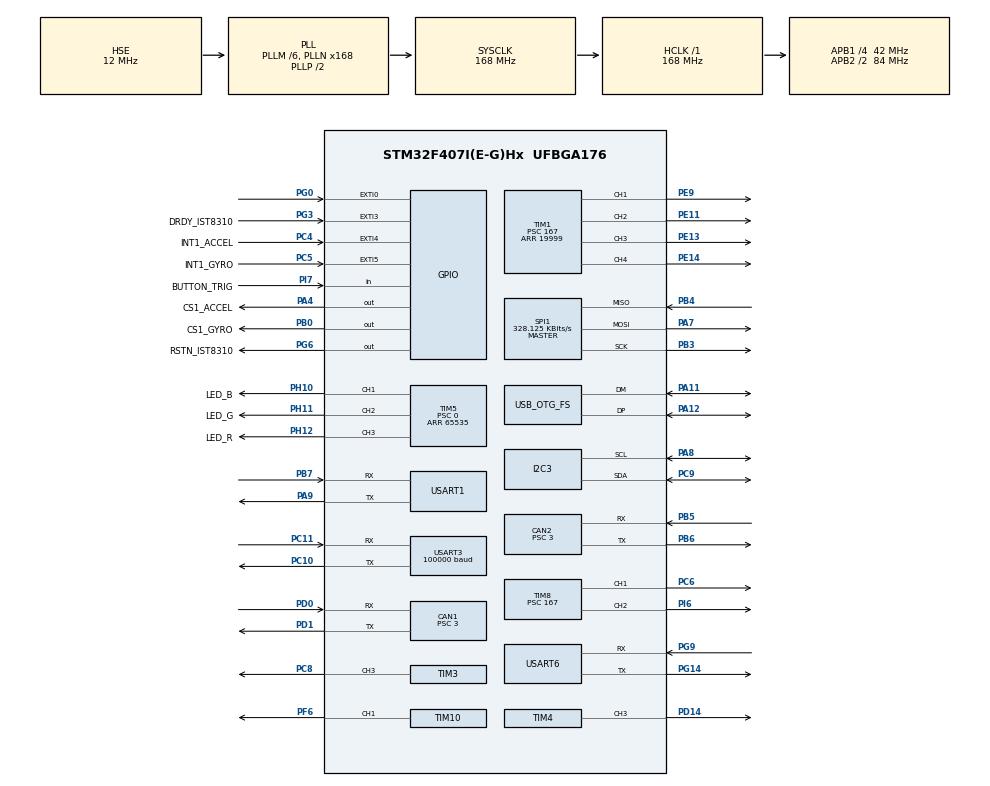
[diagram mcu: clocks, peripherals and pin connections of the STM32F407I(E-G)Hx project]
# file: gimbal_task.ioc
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CAN1.BS1=CAN_BS1_10TQ
CAN1.BS2=CAN_BS2_3TQ
CAN1.CalculateTimeQuantum=71.42857142857143
CAN1.Prescaler=3
CAN2.BS1=CAN_BS1_10TQ
CAN2.BS2=CAN_BS2_3TQ
CAN2.CalculateTimeQuantum=71.42857142857143
CAN2.Prescaler=3
Dma.Request0=SPI1_RX
Dma.Request1=SPI1_TX
Dma.Request2=USART3_RX
Dma.Request3=USART6_RX
Dma.Request4=USART6_TX
Dma.Request5=USART1_RX
Dma.Request6=USART1_TX
Dma.SPI1_RX.0.Direction=DMA_PERIPH_TO_MEMORY
Dma.SPI1_RX.0.FIFOMode=DMA_FIFOMODE_DISABLE
Dma.SPI1_RX.0.Instance=DMA2_Stream2
Dma.SPI1_RX.0.MemDataAlignment=DMA_MDATAALIGN_BYTE
Dma.SPI1_RX.0.MemInc=DMA_MINC_ENABLE
Dma.SPI1_RX.0.Mode=DMA_NORMAL
Dma.SPI1_RX.0.PeriphDataAlignment=DMA_PDATAALIGN_BYTE
Dma.SPI1_RX.0.PeriphInc=DMA_PINC_DISABLE
Dma.SPI1_RX.0.Priority=DMA_PRIORITY_VERY_HIGH
Dma.SPI1_TX.1.Direction=DMA_MEMORY_TO_PERIPH
Dma.SPI1_TX.1.FIFOMode=DMA_FIFOMODE_DISABLE
Dma.SPI1_TX.1.Instance=DMA2_Stream3
Dma.SPI1_TX.1.MemDataAlignment=DMA_MDATAALIGN_BYTE
Dma.SPI1_TX.1.MemInc=DMA_MINC_ENABLE
Dma.SPI1_TX.1.Mode=DMA_NORMAL
Dma.SPI1_TX.1.PeriphDataAlignment=DMA_PDATAALIGN_BYTE
Dma.SPI1_TX.1.PeriphInc=DMA_PINC_DISABLE
Dma.SPI1_TX.1.Priority=DMA_PRIORITY_HIGH
Dma.USART1_RX.5.Direction=DMA_PERIPH_TO_MEMORY
Dma.USART1_RX.5.FIFOMode=DMA_FIFOMODE_DISABLE
Dma.USART1_RX.5.Instance=DMA2_Stream5
Dma.USART1_RX.5.MemDataAlignment=DMA_MDATAALIGN_BYTE
Dma.USART1_RX.5.MemInc=DMA_MINC_ENABLE
Dma.USART1_RX.5.Mode=DMA_NORMAL
Dma.USART1_RX.5.PeriphDataAlignment=DMA_PDATAALIGN_BYTE
Dma.USART1_RX.5.PeriphInc=DMA_PINC_DISABLE
Dma.USART1_RX.5.Priority=DMA_PRIORITY_LOW
Dma.USART1_TX.6.Direction=DMA_MEMORY_TO_PERIPH
Dma.USART1_TX.6.FIFOMode=DMA_FIFOMODE_DISABLE
Dma.USART1_TX.6.Instance=DMA2_Stream7
Dma.USART1_TX.6.MemDataAlignment=DMA_MDATAALIGN_BYTE
Dma.USART1_TX.6.MemInc=DMA_MINC_ENABLE
Dma.USART1_TX.6.Mode=DMA_NORMAL
Dma.USART1_TX.6.PeriphDataAlignment=DMA_PDATAALIGN_BYTE
Dma.USART1_TX.6.PeriphInc=DMA_PINC_DISABLE
Dma.USART1_TX.6.Priority=DMA_PRIORITY_LOW
Dma.USART3_RX.2.Direction=DMA_PERIPH_TO_MEMORY
Dma.USART3_RX.2.FIFOMode=DMA_FIFOMODE_DISABLE
Dma.USART3_RX.2.Instance=DMA1_Stream1
Dma.USART3_RX.2.MemDataAlignment=DMA_MDATAALIGN_BYTE
Dma.USART3_RX.2.MemInc=DMA_MINC_ENABLE
Dma.USART3_RX.2.Mode=DMA_NORMAL
Dma.USART3_RX.2.PeriphDataAlignment=DMA_PDATAALIGN_BYTE
Dma.USART3_RX.2.PeriphInc=DMA_PINC_DISABLE
Dma.USART3_RX.2.Priority=DMA_PRIORITY_HIGH
Dma.USART6_RX.3.Direction=DMA_PERIPH_TO_MEMORY
Dma.USART6_RX.3.FIFOMode=DMA_FIFOMODE_DISABLE
Dma.USART6_RX.3.Instance=DMA2_Stream1
Dma.USART6_RX.3.MemDataAlignment=DMA_MDATAALIGN_BYTE
Dma.USART6_RX.3.MemInc=DMA_MINC_ENABLE
Dma.USART6_RX.3.Mode=DMA_NORMAL
Dma.USART6_RX.3.PeriphDataAlignment=DMA_PDATAALIGN_BYTE
Dma.USART6_RX.3.PeriphInc=DMA_PINC_DISABLE
Dma.USART6_RX.3.Priority=DMA_PRIORITY_LOW
Dma.USART6_TX.4.Direction=DMA_MEMORY_TO_PERIPH
Dma.USART6_TX.4.FIFOMode=DMA_FIFOMODE_DISABLE
Dma.USART6_TX.4.Instance=DMA2_Stream6
Dma.USART6_TX.4.MemDataAlignment=DMA_MDATAALIGN_BYTE
Dma.USART6_TX.4.MemInc=DMA_MINC_ENABLE
Dma.USART6_TX.4.Mode=DMA_NORMAL
Dma.USART6_TX.4.PeriphDataAlignment=DMA_PDATAALIGN_BYTE
Dma.USART6_TX.4.PeriphInc=DMA_PINC_DISABLE
Dma.USART6_TX.4.Priority=DMA_PRIORITY_LOW
FREERTOS.INCLUDE_eTaskGetState=1
FREERTOS.INCLUDE_pcTaskGetTaskName=1
FREERTOS.INCLUDE_uxTaskGetStackHighWaterMark=1
FREERTOS.INCLUDE_vTaskCleanUpResources=1
FREERTOS.INCLUDE_vTaskDelayUntil=1
FREERTOS.INCLUDE_xEventGroupSetBitFromISR=1
FREERTOS.INCLUDE_xQueueGetMutexHolder=1
FREERTOS.INCLUDE_xSemaphoreGetMutexHolder=1
FREERTOS.INCLUDE_xTaskAbortDelay=1
FREERTOS.INCLUDE_xTaskGetCurrentTaskHandle=1
FREERTOS.INCLUDE_xTaskGetHandle=1
FREERTOS.INCLUDE_xTimerPendFunctionCall=1
FREERTOS.Tasks01=test,24,128,test_task,As weak,NULL,Dynamic,NULL,NULL
FREERTOS.configTOTAL_HEAP_SIZE=24576
I2C3.I2C_Mode=I2C_Fast
Mcu.Family=STM32F4
Mcu.Name=STM32F407I(E-G)Hx
Mcu.Package=UFBGA176
NVIC.CAN1_RX0_IRQn=true\:6\:0\:true\:false\:true\:true\:true\:true\:true
NVIC.CAN2_RX0_IRQn=true\:6\:0\:true\:false\:true\:true\:true\:true\:true
NVIC.DMA1_Stream1_IRQn=true\:5\:0\:true\:false\:false\:true\:false\:false\:true
NVIC.DMA2_Stream1_IRQn=true\:5\:0\:false\:false\:true\:true\:false\:true\:true
NVIC.DMA2_Stream2_IRQn=true\:5\:0\:true\:false\:false\:true\:false\:true\:true
NVIC.DMA2_Stream3_IRQn=true\:5\:0\:true\:false\:false\:true\:false\:true\:true
NVIC.DMA2_Stream5_IRQn=true\:5\:0\:false\:false\:true\:true\:false\:true\:true
NVIC.DMA2_Stream6_IRQn=true\:5\:0\:false\:false\:true\:true\:false\:true\:true
NVIC.DMA2_Stream7_IRQn=true\:5\:0\:false\:false\:true\:true\:false\:true\:true
NVIC.EXTI0_IRQn=true\:6\:0\:true\:false\:true\:true\:true\:true\:true
NVIC.EXTI3_IRQn=true\:5\:0\:true\:false\:true\:true\:true\:true\:true
NVIC.EXTI4_IRQn=true\:5\:0\:true\:false\:true\:true\:true\:true\:true
NVIC.EXTI9_5_IRQn=true\:5\:0\:true\:false\:true\:true\:true\:true\:true
NVIC.OTG_FS_IRQn=true\:5\:0\:false\:false\:true\:true\:false\:true\:true
NVIC.PriorityGroup=NVIC_PRIORITYGROUP_4
NVIC.TIM2_IRQn=true\:0\:0\:false\:false\:true\:false\:false\:true\:true
NVIC.TimeBase=TIM2_IRQn
NVIC.TimeBaseIP=TIM2
NVIC.USART1_IRQn=true\:5\:0\:false\:false\:true\:true\:true\:true\:true
NVIC.USART3_IRQn=true\:4\:0\:true\:false\:false\:false\:true\:true\:true
NVIC.USART6_IRQn=true\:5\:0\:false\:false\:true\:true\:true\:true\:true
PA11.Mode=Device_Only
PA11.Signal=USB_OTG_FS_DM
PA12.Mode=Device_Only
PA12.Signal=USB_OTG_FS_DP
PA13.Mode=Serial_Wire
PA13.Signal=SYS_JTMS-SWDIO
PA14.Mode=Serial_Wire
PA14.Signal=SYS_JTCK-SWCLK
PA4.GPIO_Label=CS1_ACCEL
PA4.GPIO_PuPd=GPIO_PULLUP
PA4.GPIO_Speed=GPIO_SPEED_FREQ_HIGH
PA4.PinState=GPIO_PIN_SET
PA4.Signal=GPIO_Output
PA7.GPIO_PuPd=GPIO_PULLUP
PA7.Mode=Full_Duplex_Master
PA7.Signal=SPI1_MOSI
PA8.Mode=I2C
PA8.Signal=I2C3_SCL
PA9.Mode=Asynchronous
PA9.Signal=USART1_TX
PB0.GPIO_Label=CS1_GYRO
PB0.GPIO_PuPd=GPIO_PULLUP
PB0.GPIO_Speed=GPIO_SPEED_FREQ_HIGH
PB0.PinState=GPIO_PIN_SET
PB0.Signal=GPIO_Output
PB3.GPIO_PuPd=GPIO_PULLUP
PB3.Mode=Full_Duplex_Master
PB3.Signal=SPI1_SCK
PB4.GPIO_PuPd=GPIO_PULLUP
PB4.Mode=Full_Duplex_Master
PB4.Signal=SPI1_MISO
PB5.Mode=Slave
PB5.Signal=CAN2_RX
PB6.Mode=Slave
PB6.Signal=CAN2_TX
PB7.Mode=Asynchronous
PB7.Signal=USART1_RX
PC10.Mode=Asynchronous
PC10.Signal=USART3_TX
PC11.Mode=Asynchronous
PC11.Signal=USART3_RX
PC4.GPIO_Label=INT1_ACCEL
PC4.GPIO_ModeDefaultEXTI=GPIO_MODE_IT_FALLING
PC4.GPIO_PuPd=GPIO_PULLUP
PC4.Signal=GPXTI4
PC5.GPIO_Label=INT1_GYRO
PC5.GPIO_ModeDefaultEXTI=GPIO_MODE_IT_FALLING
PC5.GPIO_PuPd=GPIO_PULLUP
PC5.Signal=GPXTI5
PC6.GPIO_PuPd=GPIO_PULLUP
PC6.GPIO_Speed=GPIO_SPEED_FREQ_HIGH
PC6.Signal=S_TIM8_CH1
PC8.GPIO_PuPd=GPIO_PULLUP
PC8.GPIO_Speed=GPIO_SPEED_FREQ_HIGH
PC8.Signal=S_TIM3_CH3
PC9.Mode=I2C
PC9.Signal=I2C3_SDA
PD0.Mode=Master
PD0.Signal=CAN1_RX
PD1.Mode=Master
PD1.Signal=CAN1_TX
PD14.GPIO_Speed=GPIO_SPEED_FREQ_HIGH
PD14.Signal=S_TIM4_CH3
PE11.GPIO_PuPd=GPIO_PULLUP
PE11.GPIO_Speed=GPIO_SPEED_FREQ_HIGH
PE11.Signal=S_TIM1_CH2
PE13.GPIO_PuPd=GPIO_PULLUP
PE13.GPIO_Speed=GPIO_SPEED_FREQ_HIGH
PE13.Signal=S_TIM1_CH3
PE14.GPIO_PuPd=GPIO_PULLUP
PE14.GPIO_Speed=GPIO_SPEED_FREQ_HIGH
PE14.Signal=S_TIM1_CH4
PE9.GPIO_PuPd=GPIO_PULLUP
PE9.GPIO_Speed=GPIO_SPEED_FREQ_HIGH
PE9.Signal=S_TIM1_CH1
PF6.GPIO_PuPd=GPIO_PULLUP
PF6.GPIO_Speed=GPIO_SPEED_FREQ_HIGH
PF6.Signal=S_TIM10_CH1
PG0.GPIO_ModeDefaultEXTI=GPIO_MODE_IT_FALLING
PG0.GPIO_PuPd=GPIO_PULLUP
PG0.Signal=GPXTI0
PG14.Mode=Asynchronous
PG14.Signal=USART6_TX
PG3.GPIO_Label=DRDY_IST8310
PG3.GPIO_ModeDefaultEXTI=GPIO_MODE_IT_FALLING
PG3.GPIO_PuPd=GPIO_PULLUP
PG3.Signal=GPXTI3
PG6.GPIO_Label=RSTN_IST8310
PG6.GPIO_PuPd=GPIO_PULLUP
PG6.GPIO_Speed=GPIO_SPEED_FREQ_MEDIUM
PG6.PinState=GPIO_PIN_SET
PG6.Signal=GPIO_Output
PG9.Mode=Asynchronous
PG9.Signal=USART6_RX
PH0-OSC_IN.Mode=HSE-External-Oscillator
PH0-OSC_IN.Signal=RCC_OSC_IN
PH1-OSC_OUT.Mode=HSE-External-Oscillator
PH1-OSC_OUT.Signal=RCC_OSC_OUT
PH10.GPIO_Label=LED_B
PH10.GPIO_PuPd=GPIO_PULLUP
PH10.GPIO_Speed=GPIO_SPEED_FREQ_HIGH
PH10.Signal=S_TIM5_CH1
PH11.GPIO_Label=LED_G
PH11.GPIO_PuPd=GPIO_PULLUP
PH11.GPIO_Speed=GPIO_SPEED_FREQ_HIGH
PH11.Signal=S_TIM5_CH2
PH12.GPIO_Label=LED_R
PH12.GPIO_PuPd=GPIO_PULLUP
PH12.GPIO_Speed=GPIO_SPEED_FREQ_HIGH
PH12.Signal=S_TIM5_CH3
PI6.GPIO_PuPd=GPIO_PULLUP
PI6.GPIO_Speed=GPIO_SPEED_FREQ_HIGH
PI6.Signal=S_TIM8_CH2
PI7.GPIO_Label=BUTTON_TRIG
PI7.GPIO_PuPd=GPIO_PULLUP
PI7.Signal=GPIO_Input
ProjectManager.HeapSize=0x2000
ProjectManager.StackSize=0x2000
ProjectManager.TargetToolchain=MDK-ARM V5
RCC.48MHZClocksFreq_Value=48000000
RCC.AHBFreq_Value=168000000
RCC.APB1CLKDivider=RCC_HCLK_DIV4
RCC.APB1Freq_Value=42000000
RCC.APB1TimFreq_Value=84000000
RCC.APB2CLKDivider=RCC_HCLK_DIV2
RCC.APB2Freq_Value=84000000
RCC.APB2TimFreq_Value=168000000
RCC.CortexFreq_Value=168000000
RCC.HCLKFreq_Value=168000000
RCC.HSE_VALUE=12000000
RCC.HSI_VALUE=16000000
RCC.LSE_VALUE=32768
RCC.PLLM=6
RCC.PLLN=168
RCC.PLLQ=7
RCC.RCC_RTC_Clock_SourceVirtual=RCC_RTCCLKSOURCE_HSE_DIV30
RCC.RCC_RTC_Clock_Source_FROM_HSE=RCC_RTCCLKSOURCE_HSE_DIV30
RCC.SYSCLKFreq_VALUE=168000000
RCC.SYSCLKSource=RCC_SYSCLKSOURCE_PLLCLK
RCC.VCOOutputFreq_Value=336000000
RTC.AsynchPrediv=124
RTC.SynchPrediv=3199
SH.S_TIM10_CH1.0=TIM10_CH1,PWM Generation1 CH1
SH.S_TIM1_CH1.0=TIM1_CH1,PWM Generation1 CH1
SH.S_TIM1_CH2.0=TIM1_CH2,PWM Generation2 CH2
SH.S_TIM1_CH3.0=TIM1_CH3,PWM Generation3 CH3
SH.S_TIM1_CH4.0=TIM1_CH4,PWM Generation4 CH4
SH.S_TIM3_CH3.0=TIM3_CH3,PWM Generation3 CH3
SH.S_TIM4_CH3.0=TIM4_CH3,PWM Generation3 CH3
SH.S_TIM5_CH1.0=TIM5_CH1,PWM Generation1 CH1
SH.S_TIM5_CH2.0=TIM5_CH2,PWM Generation2 CH2
SH.S_TIM5_CH3.0=TIM5_CH3,PWM Generation3 CH3
SH.S_TIM8_CH1.0=TIM8_CH1,PWM Generation1 CH1
SH.S_TIM8_CH2.0=TIM8_CH2,PWM Generation2 CH2
SPI1.BaudRatePrescaler=SPI_BAUDRATEPRESCALER_256
SPI1.CLKPhase=SPI_PHASE_2EDGE
SPI1.CLKPolarity=SPI_POLARITY_HIGH
SPI1.CalculateBaudRate=328.125 KBits/s
SPI1.Direction=SPI_DIRECTION_2LINES
SPI1.Mode=SPI_MODE_MASTER
SPI1.VirtualType=VM_MASTER
TIM1.Channel-PWM\ Generation1\ CH1=TIM_CHANNEL_1
TIM1.Channel-PWM\ Generation2\ CH2=TIM_CHANNEL_2
TIM1.Channel-PWM\ Generation3\ CH3=TIM_CHANNEL_3
TIM1.Channel-PWM\ Generation4\ CH4=TIM_CHANNEL_4
TIM1.Period=19999
TIM1.Prescaler=167
TIM1.Pulse-PWM\ Generation1\ CH1=1550
TIM1.Pulse-PWM\ Generation2\ CH2=1000
TIM1.Pulse-PWM\ Generation3\ CH3=1000
TIM1.Pulse-PWM\ Generation4\ CH4=1000
TIM10.Channel=TIM_CHANNEL_1
TIM10.Period=4999
TIM3.Channel-PWM\ Generation3\ CH3=TIM_CHANNEL_3
TIM3.Period=8399
TIM4.Channel-PWM\ Generation3\ CH3=TIM_CHANNEL_3
TIM4.Period=65535
TIM4.Prescaler=167
TIM4.Pulse-PWM\ Generation3\ CH3=1000
TIM5.Channel-PWM\ Generation1\ CH1=TIM_CHANNEL_1
TIM5.Channel-PWM\ Generation2\ CH2=TIM_CHANNEL_2
TIM5.Channel-PWM\ Generation3\ CH3=TIM_CHANNEL_3
TIM5.Period=65535
TIM5.Prescaler=0
TIM8.Channel-PWM\ Generation1\ CH1=TIM_CHANNEL_1
TIM8.Channel-PWM\ Generation2\ CH2=TIM_CHANNEL_2
TIM8.Period=19999
TIM8.Prescaler=167
TIM8.Pulse-PWM\ Generation1\ CH1=1000
TIM8.Pulse-PWM\ Generation2\ CH2=1000
USART1.VirtualMode=VM_ASYNC
USART3.BaudRate=100000
USART3.Parity=PARITY_EVEN
USART3.VirtualMode=VM_ASYNC
USART6.VirtualMode=VM_ASYNC
USB_DEVICE.CLASS_NAME_FS=CDC
USB_DEVICE.VirtualMode-CDC_FS=Cdc
USB_DEVICE.VirtualModeFS=Cdc_FS
USB_OTG_FS.VirtualMode=Device_Only
VP_FREERTOS_VS_CMSIS_V1.Mode=CMSIS_V1
VP_RTC_VS_RTC_Activate.Mode=RTC_Enabled
VP_SYS_VS_tim2.Mode=TIM2
VP_TIM10_VS_ClockSourceINT.Mode=Enable_Timer
VP_TIM1_VS_ClockSourceINT.Mode=Internal
VP_TIM3_VS_ClockSourceINT.Mode=Internal
VP_TIM4_VS_ClockSourceINT.Mode=Internal
VP_TIM5_VS_ClockSourceINT.Mode=Internal
VP_TIM8_VS_ClockSourceINT.Mode=Internal
VP_USB_DEVICE_VS_USB_DEVICE_CDC_FS.Mode=CDC_FS
board=custom

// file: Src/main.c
/* USER CODE BEGIN Header */
/**
  ******************************************************************************
  * @file           : main.c
  * @brief          : Main program body
  ******************************************************************************
  * @attention
  *
  * <h2><center>&copy; Copyright (c) 2019 STMicroelectronics.
  * All rights reserved.</center></h2>
  *
  * This software component is licensed by ST under Ultimate Liberty license
  * SLA0044, the "License"; You may not use this file except in compliance with
  * the License. You may obtain a copy of the License at:
  *                             www.st.com/SLA0044
  *
  ******************************************************************************
  */
/* USER CODE END Header */

#include "main.h"
#include "cmsis_os.h"
#include "can.h"
#include "dma.h"
#include "i2c.h"
#include "rtc.h"
#include "spi.h"
#include "tim.h"
#include "usart.h"
#include "usb_device.h"
#include "gpio.h"

/* USER CODE BEGIN Includes */
#include "bsp_can.h"
#include "bsp_delay.h"
#include "bsp_usart.h"
#include "remote_control.h"

#include "calibrate_task.h"
#include "gimbal_task.h"
#include "INS_task.h"
#include "led_flow_task.h"
/* USER CODE END Includes */

/* USER CODE BEGIN
/* USER CODE END PV */
void SystemClock_Config(void);
void MX_FREERTOS_Init(void);

int main(void)
{

  /* MCU Configuration--------------------------------------------------------*/

  /* Reset of all peripherals, Initializes the Flash interface and the Systick. */
  HAL_Init();

  /* Configure the system clock */
  SystemClock_Config();

  /* Initialize all configured peripherals */
  MX_GPIO_Init();
  MX_DMA_Init();
  MX_CAN1_Init();
  MX_CAN2_Init();
  MX_SPI1_Init();
  MX_TIM4_Init();
  MX_TIM5_Init();
  MX_USART3_UART_Init();
  MX_TIM8_Init();
  MX_I2C3_Init();
  MX_RTC_Init();
  MX_TIM1_Init();
  MX_TIM3_Init();
  MX_TIM10_Init();
  MX_USART6_UART_Init();
  MX_USART1_UART_Init();
  /* USER CODE BEGIN 2 */
	 MX_USB_DEVICE_Init();
		__HAL_TIM_SetCompare(&htim4, TIM_CHANNEL_3, 0);
	  HAL_TIM_Base_Start(&htim1);
    HAL_TIM_PWM_Start(&htim1, TIM_CHANNEL_1);
    can_filter_init();
    delay_init();
    cali_param_init();
    remote_control_init();
		usart6_init();
  /* USER CODE END 2 */

  /* Call init function for freertos objects (in freertos.c) */
  MX_FREERTOS_Init();

  /* Start scheduler */
  osKernelStart();

  /* We should never get here as control is now taken by the scheduler */

  /* Infinite loop */
  while (1)
  {

  }
}

void SystemClock_Config(void)
{
  RCC_OscInitTypeDef RCC_OscInitStruct = {0};
  RCC_ClkInitTypeDef RCC_ClkInitStruct = {0};
  RCC_PeriphCLKInitTypeDef PeriphClkInitStruct = {0};

  /** Configure the main internal regulator output voltage
  */
  __HAL_RCC_PWR_CLK_ENABLE();
  __HAL_PWR_VOLTAGESCALING_CONFIG(PWR_REGULATOR_VOLTAGE_SCALE1);
  /** Initializes the CPU, AHB and APB busses clocks
  */
  RCC_OscInitStruct.OscillatorType = RCC_OSCILLATORTYPE_HSE;
  RCC_OscInitStruct.HSEState = RCC_HSE_ON;
  RCC_OscInitStruct.PLL.PLLState = RCC_PLL_ON;
  RCC_OscInitStruct.PLL.PLLSource = RCC_PLLSOURCE_HSE;
  RCC_OscInitStruct.PLL.PLLM = 6;
  RCC_OscInitStruct.PLL.PLLN = 168;
  RCC_OscInitStruct.PLL.PLLP = RCC_PLLP_DIV2;
  RCC_OscInitStruct.PLL.PLLQ = 7;
  if (HAL_RCC_OscConfig(&RCC_OscInitStruct) != HAL_OK)
  {
    Error_Handler();
  }
  /** Initializes the CPU, AHB and APB busses clocks
  */
  RCC_ClkInitStruct.ClockType = RCC_CLOCKTYPE_HCLK|RCC_CLOCKTYPE_SYSCLK
                              |RCC_CLOCKTYPE_PCLK1|RCC_CLOCKTYPE_PCLK2;
  RCC_ClkInitStruct.SYSCLKSource = RCC_SYSCLKSOURCE_PLLCLK;
  RCC_ClkInitStruct.AHBCLKDivider = RCC_SYSCLK_DIV1;
  RCC_ClkInitStruct.APB1CLKDivider = RCC_HCLK_DIV4;
  RCC_ClkInitStruct.APB2CLKDivider = RCC_HCLK_DIV2;

  if (HAL_RCC_ClockConfig(&RCC_ClkInitStruct, FLASH_LATENCY_5) != HAL_OK)
  {
    Error_Handler();
  }
  PeriphClkInitStruct.PeriphClockSelection = RCC_PERIPHCLK_RTC;
  PeriphClkInitStruct.RTCClockSelection = RCC_RTCCLKSOURCE_HSE_DIV30;
  if (HAL_RCCEx_PeriphCLKConfig(&PeriphClkInitStruct) != HAL_OK)
  {
    Error_Handler();
  }
}

void HAL_TIM_PeriodElapsedCallback(TIM_HandleTypeDef *htim)
{
  if (htim->Instance == TIM2) {
    HAL_IncTick();
  }
}

void Error_Handler(void)
{
}

/************************ (C) COPYRIGHT STMicroelectronics *****END OF FILE****/

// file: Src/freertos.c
/* USER CODE BEGIN Header */
/**
  ******************************************************************************
  * File Name          : freertos.c
  * Description        : Code for freertos applications
  ******************************************************************************
  * @attention
  *
  * <h2><center>&copy; Copyright (c) 2019 STMicroelectronics.
  * All rights reserved.</center></h2>
  *
  * This software component is licensed by ST under Ultimate Liberty license
  * SLA0044, the "License"; You may not use this file except in compliance with
  * the License. You may obtain a copy of the License at:
  *                             www.st.com/SLA0044
  *
  ******************************************************************************
  */
/* USER CODE END Header */

#include "FreeRTOS.h"
#include "task.h"
#include "main.h"
#include "cmsis_os.h"

/* USER CODE BEGIN Includes */

#include "calibrate_task.h"
#include "gimbal_task.h"
#include "chassis_task.h"
#include "INS_task.h"
#include "led_flow_task.h"
#include "Vision_Task.h"
#include "Revolver_task.h"
#include "detect_task.h"
#include "info_update_task.h"
#include "CUSUI.h"

/* USER CODE END Includes */

/* USER CODE BEGIN PTD */
osThreadId UisendHandle;
osThreadId calibrate_tast_handle;
osThreadId detect_handle;
osThreadId gimbalTaskHandle;
osThreadId imuTaskHandle;
osThreadId led_RGB_flow_handle;
osThreadId vision_task_handle;
osThreadId revolver_task_handle;
osThreadId detect_handle;
osThreadId Info_updateHandle;
/* USER CODE END PTD */

osThreadId testHandle;

void test_task(void const * argument);
extern void Info_update_Task(void const * argument);
extern void MX_USB_DEVICE_Init(void);
void MX_FREERTOS_Init(void); /* (MISRA C 2004 rule 8.1) */

/* GetIdleTaskMemory prototype (linked to static allocation support) */
void vApplicationGetIdleTaskMemory( StaticTask_t **ppxIdleTaskTCBBuffer, StackType_t **ppxIdleTaskStackBuffer, uint32_t *pulIdleTaskStackSize );

/* GetTimerTaskMemory prototype (linked to static allocation support) */
void vApplicationGetTimerTaskMemory( StaticTask_t **ppxTimerTaskTCBBuffer, StackType_t **ppxTimerTaskStackBuffer, uint32_t *pulTimerTaskStackSize );

/* USER CODE BEGIN GET_IDLE_TASK_MEMORY */
static StaticTask_t xIdleTaskTCBBuffer;
static StackType_t xIdleStack[configMINIMAL_STACK_SIZE];

void vApplicationGetIdleTaskMemory( StaticTask_t **ppxIdleTaskTCBBuffer, StackType_t **ppxIdleTaskStackBuffer, uint32_t *pulIdleTaskStackSize )
{
  *ppxIdleTaskTCBBuffer = &xIdleTaskTCBBuffer;
  *ppxIdleTaskStackBuffer = &xIdleStack[0];
  *pulIdleTaskStackSize = configMINIMAL_STACK_SIZE;
  /* place for user code */
}
/* USER CODE END GET_IDLE_TASK_MEMORY */

/* USER CODE BEGIN GET_TIMER_TASK_MEMORY */
static StaticTask_t xTimerTaskTCBBuffer;
static StackType_t xTimerStack[configTIMER_TASK_STACK_DEPTH];

void vApplicationGetTimerTaskMemory( StaticTask_t **ppxTimerTaskTCBBuffer, StackType_t **ppxTimerTaskStackBuffer, uint32_t *pulTimerTaskStackSize )
{
  *ppxTimerTaskTCBBuffer = &xTimerTaskTCBBuffer;
  *ppxTimerTaskStackBuffer = &xTimerStack[0];
  *pulTimerTaskStackSize = configTIMER_TASK_STACK_DEPTH;
  /* place for user code */
}
/* USER CODE END GET_TIMER_TASK_MEMORY */

void MX_FREERTOS_Init(void) {

  /* Create the thread(s) */
  /* definition and creation of test */
  osThreadDef(test, test_task, osPriorityNormal, 0, 128);
  testHandle = osThreadCreate(osThread(test), NULL);

  /* USER CODE BEGIN RTOS_THREADS */
  /* add threads, ... */
    osThreadDef(cali, calibrate_task, osPriorityNormal, 0, 512);
    calibrate_tast_handle = osThreadCreate(osThread(cali), NULL);

    osThreadDef(gimbalTask, gimbal_task	, osPriorityHigh, 0, 512);
    gimbalTaskHandle = osThreadCreate(osThread(gimbalTask), NULL);

	osThreadDef(chassisTask, chassis_task, osPriorityNormal, 0, 512);
    gimbalTaskHandle = osThreadCreate(osThread(chassisTask), NULL);

    osThreadDef(imuTask, INS_task, osPriorityRealtime, 0, 512);
    imuTaskHandle = osThreadCreate(osThread(imuTask), NULL);

    osThreadDef(led, led_RGB_flow_task, osPriorityNormal, 0, 128);
    led_RGB_flow_handle = osThreadCreate(osThread(led), NULL);

    osThreadDef(vision_Task, Vision_Task, osPriorityNormal, 0, 256);
    vision_task_handle = osThreadCreate(osThread(vision_Task), NULL);

    osThreadDef(revolver_task, Revolver_task, osPriorityNormal, 0, 256);
    revolver_task_handle = osThreadCreate(osThread(revolver_task), NULL);

    osThreadDef(UI_Send, CUSUI_TASK, osPriorityNormal, 0, 128);
	  UisendHandle = osThreadCreate(osThread(UI_Send), NULL);

	osThreadDef(DETECT, detect_task, osPriorityNormal, 0, 256);
	detect_handle = osThreadCreate(osThread(DETECT), NULL);

	  osThreadDef(Info_update, Info_update_Task, osPriorityAboveNormal, 0, 256);
  Info_updateHandle = osThreadCreate(osThread(Info_update), NULL);
  /* USER CODE END RTOS_THREADS */

}

__weak void test_task(void const * argument)
{
  /* init code for USB_DEVICE */
  MX_USB_DEVICE_Init();

  for(;;)
  {
    osDelay(1);
  }
}

/************************ (C) COPYRIGHT STMicroelectronics *****END OF FILE****/
